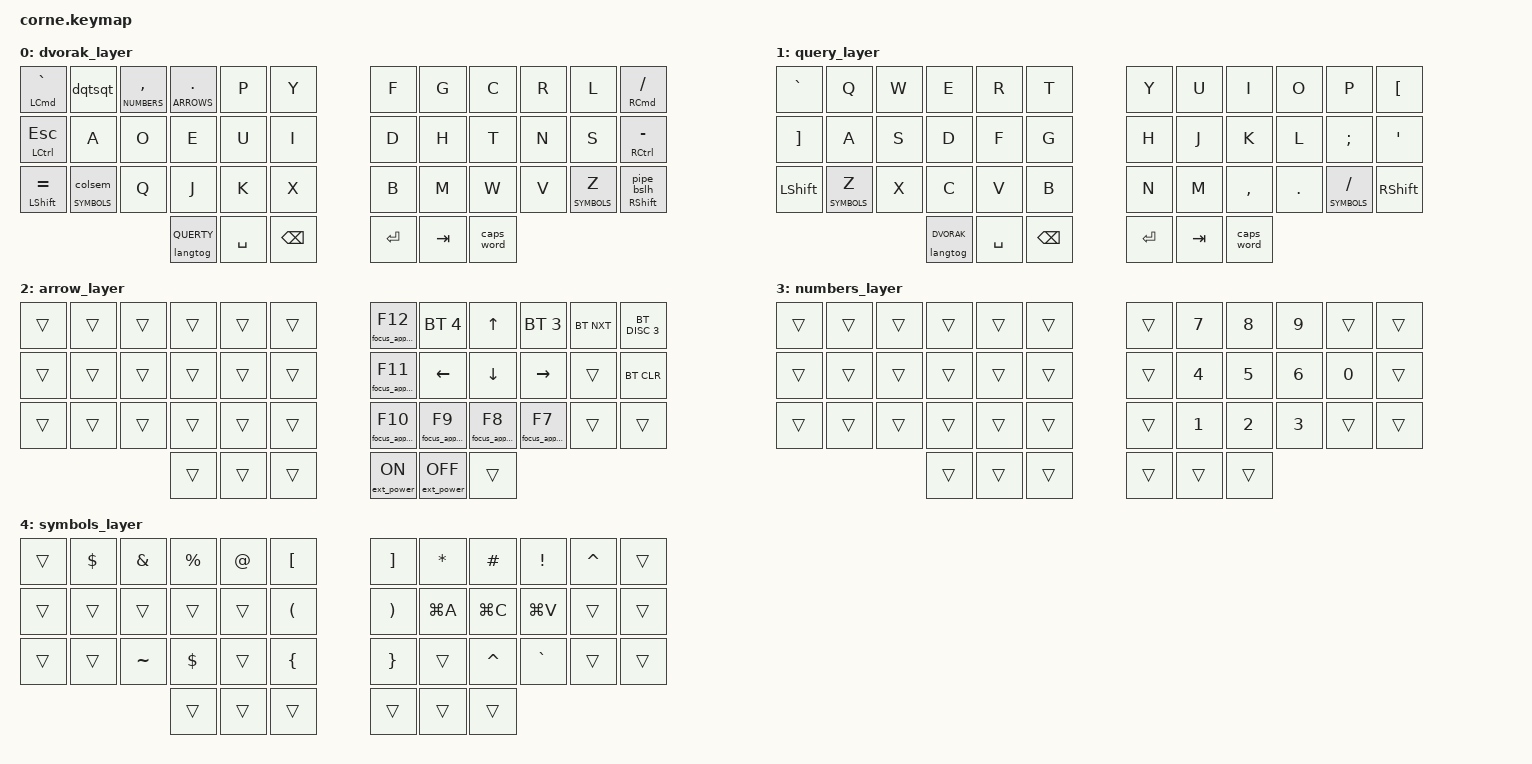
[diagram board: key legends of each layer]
/*
 * Copyright (c) 2020 The ZMK Contributors
 *
 * SPDX-License-Identifier: MIT
 */

#include <behaviors.dtsi>
#include <dt-bindings/zmk/keys.h>
#include <dt-bindings/zmk/bt.h>
#include <dt-bindings/zmk/ext_power.h>

#define DVORAK 0
#define QUERTY 1
#define ARROWS  2
#define NUMBERS 3
#define SYMBOLS 4

/ {
        behaviors {
            colsem: colon_semicolon {
                compatible = "zmk,behavior-mod-morph";
                #binding-cells = <0>;
                bindings = <&kp COLON>, <&kp SEMICOLON>;
                mods = <(MOD_LSFT|MOD_RSFT)>;
            };
            dqtsqt: double_quote_single_quote {
                compatible = "zmk,behavior-mod-morph";
                #binding-cells = <0>;
                bindings = <&kp DQT>, <&kp SQT>;
                mods = <(MOD_LSFT|MOD_RSFT)>;
            };
            pipe_bslh: pipe_backslash {
                compatible = "zmk,behavior-mod-morph";
                #binding-cells = <0>;
                bindings = <&kp PIPE>, <&kp BSLH>;
                mods = <(MOD_LSFT|MOD_RSFT)>;
            };
            pisl: pipe_bslash {
                compatible = "zmk,behavior-hold-tap";
                #binding-cells = <2>;
                tapping-term-ms = <150>;
                quick-tap-ms = <0>;
                flavor = "tap-preferred";
                bindings = <&kp>, <&pipe_bslh>;
            };
            syclsm: symbols_colsem {
                compatible = "zmk,behavior-hold-tap";
                #binding-cells = <2>;
                tapping-term-ms = <150>;
                quick-tap-ms = <0>;
                flavor = "tap-preferred";
                bindings = <&mo>, <&colsem>;
            };
            rpi: require_prior_idle {
                compatible = "zmk,behavior-hold-tap";
                #binding-cells = <2>;
                flavor = "tap-preferred";
                tapping-term-ms = <200>;
                quick-tap-ms = <200>;
                require-prior-idle-ms = <125>;
                bindings = <&kp>, <&kp>;
            };
        };

        macros {
          langtog: langtog {
              compatible = "zmk,behavior-macro-one-param";
              wait-ms = <0>;
              tap-ms = <0>;
              #binding-cells = <1>;
              bindings
                  = <&macro_param_1to1>
                  , <&macro_tap &to MACRO_PLACEHOLDER>
                  , <&macro_tap &kp LC(SPACE)>;
          };

          focus_app_kb: focus_app_kb {
              compatible = "zmk,behavior-macro-one-param";
              wait-ms = <0>;
              tap-ms = <0>;
              #binding-cells = <1>;
              bindings
                  = <&macro_press &kp LCMD>
                  , <&macro_tap &kp H >
                  , <&macro_release &kp LCMD>
                  , <&macro_press &kp LCMD>
                  , <&macro_param_1to1>
                  , <&macro_tap &kp MACRO_PLACEHOLDER>
                  , <&macro_release &kp LCMD>;
          };
        };

        keymap {
                compatible = "zmk,keymap";

                dvorak_layer {
// -----------------------------------------------------------------------------------------
// | LCMD/`~   |  '"  |  ,<  |  .>  |  P  |  Y  |   |  F  |  G   |  C  |  R  |  L  | RCMD//?   |
// | CTRL/ESC  |  A   |  O   |  E   |  U  |  I  |   |  D  |  H   |  T  |  N  |  S  | CTRL/-_   |
// | SHFT/=+   |sym/:;|  Q   |  J   |  K  |  X  |   |  B  |  M   |  W  |  V  |  Z  | RSHFT/|\  |
//                           | QWRT |SPACE| BSPC|   | ENT | TAB  |CAPS |
                        bindings = <
   &rpi LCMD GRAVE   &dqtsqt            &lt NUMBERS COMMA &lt ARROWS DOT   &kp P      &kp Y       &kp F   &kp G    &kp C    &kp R    &kp L          &rpi RCMD SLASH
   &rpi LCTRL ESC    &kp A              &kp O             &kp E            &kp U      &kp I       &kp D   &kp H    &kp T    &kp N    &kp S          &rpi RCTRL MINUS
   &rpi LSHFT EQUAL  &syclsm SYMBOLS 0  &kp Q             &kp J            &kp K      &kp X       &kp B   &kp M    &kp W    &kp V    &lt SYMBOLS Z  &pisl RSHFT 0
                                                       &langtog QUERTY  &kp SPACE  &kp BSPC       &kp RET &kp TAB  &caps_word
                        >;
                };

                query_layer {
// -----------------------------------------------------------------------------------------
// |  `~  |  Q  |  W  |  E  |  R  |  T  |   |  Y  |  U   |  I  |  O  |  P  | [{   |
// | ]}   |  A  |  S  |  D  |  F  |  G  |   |  H  |  J   |  K  |  L  |  ;  |  '   |
// | SHFT |  Z  |  X  |  C  |  V  |  B  |   |  N  |  M   |  ,  |  .  |  /  | SHFT |
//                    | DVK | SPACE | BSPC |   | ENT | TAB  | CAPS |
                        bindings = <
   &kp GRAVE  &kp Q &kp W &kp E &kp R &kp T   &kp Y &kp U  &kp I     &kp O   &kp P    &kp LBKT
   &kp RBKT   &kp A &kp S &kp D &kp F &kp G   &kp H &kp J  &kp K     &kp L   &kp SEMI &kp SQT
   &kp LSHFT  &lt SYMBOLS Z &kp X &kp C &kp V &kp B   &kp N &kp M  &kp COMMA &kp DOT &lt SYMBOLS FSLH &kp RSHFT
                 &langtog DVORAK  &kp SPACE  &kp BSPC   &kp RET &kp TAB  &caps_word
                        >;
                };
                arrow_layer {
                        bindings = <
   &trans  &trans &trans &trans &trans &trans    &focus_app_kb F12 &bt BT_SEL 4 &kp UP &bt BT_SEL 3 &bt BT_NXT &bt BT_DISC 3
   &trans  &trans &trans &trans &trans &trans    &focus_app_kb F11 &kp LEFT &kp DOWN &kp RIGHT &trans &bt BT_CLR
   &trans  &trans &trans &trans &trans &trans    &focus_app_kb F10 &focus_app_kb F9 &focus_app_kb F8 &focus_app_kb F7 &trans &trans
                         &trans &trans &trans    &ext_power EP_ON &ext_power EP_OFF &trans
                        >;
                };

                numbers_layer {
                        bindings = <
   &trans  &trans &trans &trans &trans &trans    &trans &kp NUMBER_7 &kp NUMBER_8 &kp NUMBER_9 &trans &trans
   &trans  &trans &trans &trans &trans &trans    &trans &kp NUMBER_4 &kp NUMBER_5 &kp NUMBER_6 &kp NUMBER_0 &trans
   &trans  &trans &trans &trans &trans &trans    &trans &kp NUMBER_1 &kp NUMBER_2 &kp NUMBER_3 &trans &trans
                         &trans &trans &trans    &trans &trans &trans
                        >;
                };

                symbols_layer {
// -----------------------------------------------------------------------------------------
// |      |  $  |  &  |  %  |  @  |  [  |   |  ]  |  *   |  #   |  !  |  ^  |      |
// |      |     |     |     |     |  {  |   |  }  | CMD A| CMD C|CMD V|     |      |
// |      |     |  ~  |  $  |     |  (  |   |  )  |      |  ^   |  `  |     |      |
//                    | DVK | BSPC | SPACE |   | ENT | TAB  | CAPS |
                        bindings = <
   &trans  &kp DLLR &kp AMPS &kp PRCNT &kp AT &kp LBKT    &kp RBKT &kp STAR &kp HASH &kp EXCL &kp CARET &trans
   &trans  &trans   &trans   &trans    &trans &kp LPAR    &kp RPAR &kp LG(A)   &kp LG(C)   &kp LG(V)   &trans    &trans
   &trans  &trans   &kp TILDE &kp DLLR &trans &kp LBRC    &kp RBRC &trans   &kp CARET   &kp GRAVE   &trans    &trans
                                  &trans &trans &trans    &trans &trans &trans
                        >;
                };
        };
};
